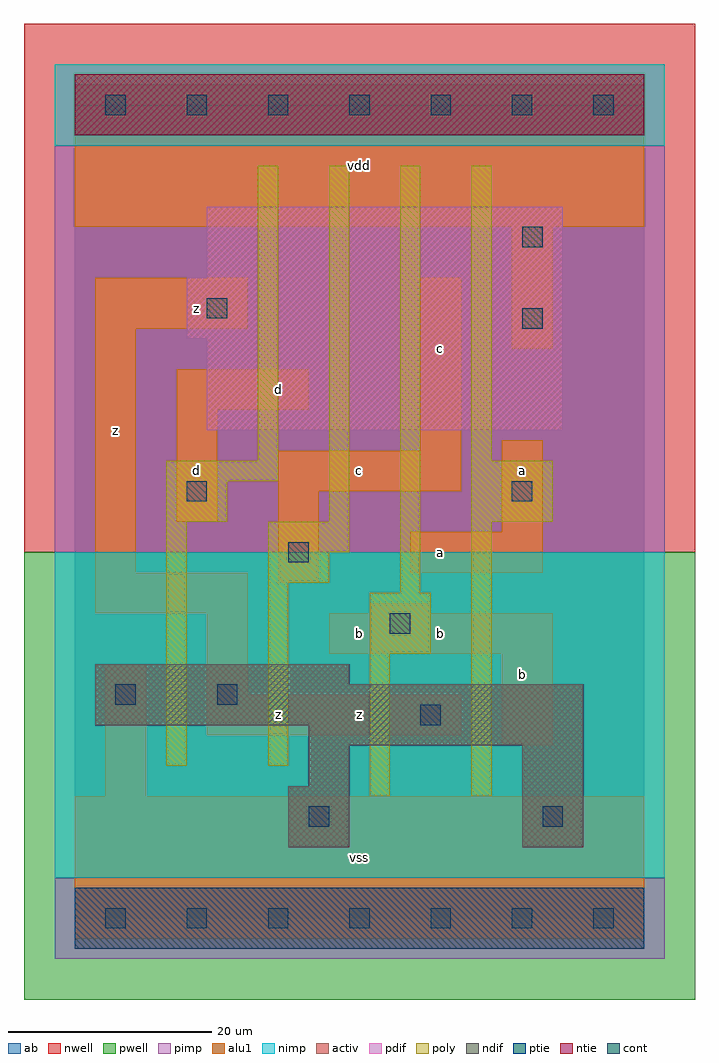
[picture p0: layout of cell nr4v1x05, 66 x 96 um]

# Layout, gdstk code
import gdstk
lib = gdstk.Library(unit=1e-6, precision=1e-09)
def R(c, l, rs):  # rectangles x0, y0, x1, y1
    for r in rs: c.add(gdstk.rectangle(r[:2], r[2:], *l))
def A(c, l, x, y, w, h, nx, ny, dx, dy):  # array of equal rectangles
    R(c, l, [(x+i*dx, y+j*dy, x+i*dx+w, y+j*dy+h) for i in range(nx) for j in range(ny)])
ndif = (3, 0)
pdif = (4, 0)
ntie = (5, 0)
ptie = (6, 0)
cont = (25, 0)
pwell = (41, 0)
nwell = (42, 0)
activ = (43, 0)
pimp = (44, 0)
nimp = (45, 0)
poly = (46, 0)
alu1 = (49, 0)
ab = (63, 0)

nr4v1x05 = lib.new_cell('nr4v1x05')
R(nr4v1x05, ndif, [(21,7,27,13), (44,7,50,17), (23,13,27,17), (23,17,50,19), (2,19,50,23), (2,23,27,25)])
R(nr4v1x05, pdif, [(13,48,48,57), (11,57,48,63), (13,63,48,70)])
R(nr4v1x05, ntie, [(0,77,56,83)])
R(nr4v1x05, ptie, [(0,-3,56,3)])
A(nr4v1x05, cont, 3, -1, 2, 2, 7, 2, 8, 80)
R(nr4v1x05, cont, [(23,9,25,11), (46,9,48,11), (34,19,36,21), (4,21,6,23), (14,21,16,23), (31,28,33,30), (21,35,23,37), (11,41,13,43), (43,41,45,43), (44,58,46,60), (13,59,15,61), (44,66,46,68)])
R(nr4v1x05, pwell, [(-5,-8,61,36)])
R(nr4v1x05, nwell, [(-5,36,61,88)])
R(nr4v1x05, activ, [(0,-3,56,3), (21,7,27,13), (44,7,50,17), (23,13,27,17), (23,17,50,19), (2,19,50,23), (2,23,27,25), (13,48,48,57), (11,57,48,63), (13,63,48,70), (0,77,56,83)])
R(nr4v1x05, pimp, [(-2,-4,58,4), (-2,36,58,76)])
R(nr4v1x05, nimp, [(-2,4,58,36), (-2,76,58,84)])
R(nr4v1x05, poly, [(29,12,31,26), (39,12,41,39), (9,15,11,39), (19,15,21,33), (29,26,35,32), (32,32,34,74), (19,33,25,36), (19,36,27,39), (9,39,15,43), (25,39,27,74), (39,39,47,45), (9,43,20,45), (18,45,20,74), (39,45,41,74)])
R(nr4v1x05, alu1, [(0,-2,56,12), (3,12,7,25), (42,17,47,26), (13,18,38,22), (13,22,17,30), (25,26,47,30), (2,30,17,34), (29,30,35,31), (20,33,24,42), (2,34,6,58), (33,34,46,38), (42,38,46,47), (10,39,14,50), (20,42,38,46), (34,46,38,63), (10,50,23,54), (43,56,47,68), (2,58,17,63), (0,68,56,82)])
R(nr4v1x05, ab, [(0,0,56,80)])
nr4v1x05.add(gdstk.Label('z', (4,48), layer=49, texttype=0))
nr4v1x05.add(gdstk.Label('z', (20,20), layer=49, texttype=0))
nr4v1x05.add(gdstk.Label('d', (12,44), layer=49, texttype=0))
nr4v1x05.add(gdstk.Label('d', (20,52), layer=49, texttype=0))
nr4v1x05.add(gdstk.Label('z', (12,60), layer=49, texttype=0))
nr4v1x05.add(gdstk.Label('vss', (28,6), layer=49, texttype=0))
nr4v1x05.add(gdstk.Label('z', (28,20), layer=49, texttype=0))
nr4v1x05.add(gdstk.Label('b', (28,28), layer=49, texttype=0))
nr4v1x05.add(gdstk.Label('a', (36,36), layer=49, texttype=0))
nr4v1x05.add(gdstk.Label('b', (36,28), layer=49, texttype=0))
nr4v1x05.add(gdstk.Label('c', (28,44), layer=49, texttype=0))
nr4v1x05.add(gdstk.Label('c', (36,56), layer=49, texttype=0))
nr4v1x05.add(gdstk.Label('vdd', (28,74), layer=49, texttype=0))
nr4v1x05.add(gdstk.Label('b', (44,24), layer=49, texttype=0))
nr4v1x05.add(gdstk.Label('a', (44,44), layer=49, texttype=0))

lib.write_gds('nr4v1x05.gds')
